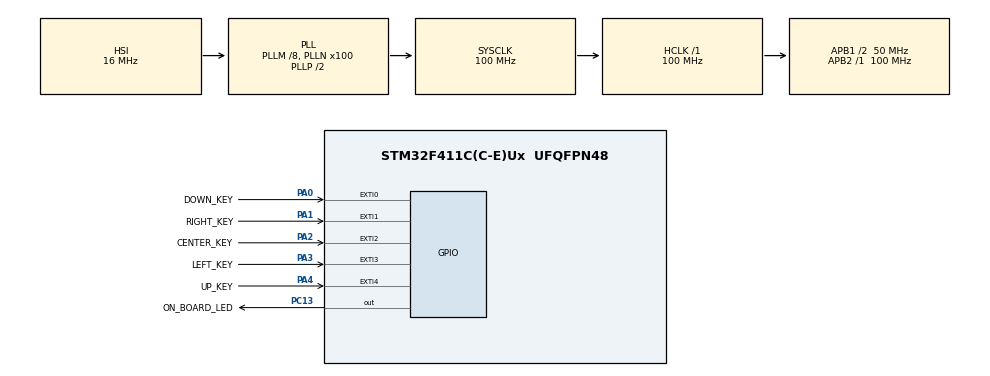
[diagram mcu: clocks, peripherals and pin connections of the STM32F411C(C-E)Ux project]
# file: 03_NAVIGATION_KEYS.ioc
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Mcu.Family=STM32F4
Mcu.Name=STM32F411C(C-E)Ux
Mcu.Package=UFQFPN48
NVIC.EXTI0_IRQn=true\:0\:0\:false\:false\:true\:true\:true\:true
NVIC.EXTI1_IRQn=true\:0\:0\:false\:false\:true\:true\:true\:true
NVIC.EXTI2_IRQn=true\:0\:0\:false\:false\:true\:true\:true\:true
NVIC.EXTI3_IRQn=true\:0\:0\:false\:false\:true\:true\:true\:true
NVIC.EXTI4_IRQn=true\:0\:0\:false\:false\:true\:true\:true\:true
NVIC.PriorityGroup=NVIC_PRIORITYGROUP_4
NVIC.TIM1_UP_TIM10_IRQn=true\:0\:0\:false\:false\:true\:true\:true\:true
PA0-WKUP.GPIO_Label=DOWN_KEY
PA0-WKUP.GPIO_ModeDefaultEXTI=GPIO_MODE_IT_FALLING
PA0-WKUP.GPIO_PuPd=GPIO_PULLUP
PA0-WKUP.Signal=GPXTI0
PA1.GPIO_Label=RIGHT_KEY
PA1.GPIO_ModeDefaultEXTI=GPIO_MODE_IT_FALLING
PA1.GPIO_PuPd=GPIO_PULLUP
PA1.Signal=GPXTI1
PA13.Mode=Serial_Wire
PA13.Signal=SYS_JTMS-SWDIO
PA14.Mode=Serial_Wire
PA14.Signal=SYS_JTCK-SWCLK
PA2.GPIO_Label=CENTER_KEY
PA2.GPIO_ModeDefaultEXTI=GPIO_MODE_IT_FALLING
PA2.GPIO_PuPd=GPIO_PULLUP
PA2.Signal=GPXTI2
PA3.GPIO_Label=LEFT_KEY
PA3.GPIO_ModeDefaultEXTI=GPIO_MODE_IT_FALLING
PA3.GPIO_PuPd=GPIO_PULLUP
PA3.Signal=GPXTI3
PA4.GPIO_Label=UP_KEY
PA4.GPIO_ModeDefaultEXTI=GPIO_MODE_IT_FALLING
PA4.GPIO_PuPd=GPIO_PULLUP
PA4.Signal=GPXTI4
PC13-ANTI_TAMP.GPIO_Label=ON_BOARD_LED
PC13-ANTI_TAMP.Signal=GPIO_Output
PC14-OSC32_IN.Mode=LSE-External-Oscillator
PC14-OSC32_IN.Signal=RCC_OSC32_IN
PC15-OSC32_OUT.Mode=LSE-External-Oscillator
PC15-OSC32_OUT.Signal=RCC_OSC32_OUT
PH0\ -\ OSC_IN.Mode=HSE-External-Oscillator
PH0\ -\ OSC_IN.Signal=RCC_OSC_IN
PH1\ -\ OSC_OUT.Mode=HSE-External-Oscillator
PH1\ -\ OSC_OUT.Signal=RCC_OSC_OUT
ProjectManager.HeapSize=0x200
ProjectManager.StackSize=0x400
ProjectManager.TargetToolchain=STM32CubeIDE
RCC.48MHZClocksFreq_Value=50000000
RCC.AHBFreq_Value=100000000
RCC.APB1CLKDivider=RCC_HCLK_DIV2
RCC.APB1Freq_Value=50000000
RCC.APB1TimFreq_Value=100000000
RCC.APB2Freq_Value=100000000
RCC.APB2TimFreq_Value=100000000
RCC.CortexFreq_Value=100000000
RCC.HCLKFreq_Value=100000000
RCC.HSE_VALUE=25000000
RCC.HSI_VALUE=16000000
RCC.PLLM=8
RCC.PLLN=100
RCC.SYSCLKFreq_VALUE=100000000
RCC.SYSCLKSource=RCC_SYSCLKSOURCE_PLLCLK
RCC.VCOOutputFreq_Value=200000000
TIM1.Period=49999
TIM1.Prescaler=1
VP_TIM1_VS_ClockSourceINT.Mode=Internal
board=custom

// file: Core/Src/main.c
/* USER CODE BEGIN Header */
/**
  ******************************************************************************
  * @file           : main.c
  * @brief          : Main program body
  ******************************************************************************
  * @attention
  *
  * Copyright (c) 2025 STMicroelectronics.
  * All rights reserved.
  *
  * This software is licensed under terms that can be found in the LICENSE file
  * in the root directory of this software component.
  * If no LICENSE file comes with this software, it is provided AS-IS.
  *
  ******************************************************************************
  */
/* USER CODE END Header */
#include "main.h"

/* USER CODE BEGIN Includes */
#include "stdbool.h"
/* USER CODE END Includes */

/* USER CODE BEGIN PD */
#define DEBOUNCE_DELAY_IN_MS		(uint32_t)200
#define UP							(uint8_t)0x00
#define DOWN						(uint8_t)0x01
#define CENTER						(uint8_t)0x02
#define LEFT						(uint8_t)0x03
#define RIGHT						(uint8_t)0x04
/* USER CODE END PD */

TIM_HandleTypeDef htim1;

/* USER CODE BEGIN PV */
typedef struct
{
	bool previous_state;
	bool current_state;
	uint32_t press_cnt;
	bool pressed_flag;
}navigation_struct_t;
typedef struct
{
	bool status;
	bool ovf_flag;
	uint32_t timeout_in_ms;
}user_timer_struct_t;

navigation_struct_t navigation_struct[5];
user_timer_struct_t user_timer_struct[5];

/* USER CODE END PV */

void SystemClock_Config(void);
static void MX_GPIO_Init(void);
static void MX_TIM1_Init(void);
/* USER CODE BEGIN PFP */
void navigation_keys_init(void);
void navigation_keys_handler(void);
void user_timer_init(void);
void user_timer_start(uint8_t timer_id, uint32_t timeout_in_ms);
void user_timer_stop(uint8_t timer_id);
void HAL_TIM_PeriodElapsedCallback(TIM_HandleTypeDef *htim);
void HAL_GPIO_EXTI_Callback(uint16_t GPIO_Pin);
/* USER CODE END PFP */

int main(void)
{

  /* MCU Configuration--------------------------------------------------------*/

  /* Reset of all peripherals, Initializes the Flash interface and the Systick. */
  HAL_Init();

  /* Configure the system clock */
  SystemClock_Config();

  /* Initialize all configured peripherals */
  MX_GPIO_Init();
  MX_TIM1_Init();
  /* USER CODE BEGIN 2 */
  HAL_TIM_Base_Start_IT(&htim1);
  user_timer_init();
  navigation_keys_init();
  /* USER CODE END 2 */

  /* Infinite loop */
  while (1)
  {

    /* USER CODE BEGIN 3 */
	  navigation_keys_handler();
  }
  /* USER CODE END 3 */
}

void SystemClock_Config(void)
{
  RCC_OscInitTypeDef RCC_OscInitStruct = {0};
  RCC_ClkInitTypeDef RCC_ClkInitStruct = {0};

  /** Configure the main internal regulator output voltage
  */
  __HAL_RCC_PWR_CLK_ENABLE();
  __HAL_PWR_VOLTAGESCALING_CONFIG(PWR_REGULATOR_VOLTAGE_SCALE1);

  /** Initializes the RCC Oscillators according to the specified parameters
  * in the RCC_OscInitTypeDef structure.
  */
  RCC_OscInitStruct.OscillatorType = RCC_OSCILLATORTYPE_HSI;
  RCC_OscInitStruct.HSIState = RCC_HSI_ON;
  RCC_OscInitStruct.HSICalibrationValue = RCC_HSICALIBRATION_DEFAULT;
  RCC_OscInitStruct.PLL.PLLState = RCC_PLL_ON;
  RCC_OscInitStruct.PLL.PLLSource = RCC_PLLSOURCE_HSI;
  RCC_OscInitStruct.PLL.PLLM = 8;
  RCC_OscInitStruct.PLL.PLLN = 100;
  RCC_OscInitStruct.PLL.PLLP = RCC_PLLP_DIV2;
  RCC_OscInitStruct.PLL.PLLQ = 4;
  if (HAL_RCC_OscConfig(&RCC_OscInitStruct) != HAL_OK)
  {
    Error_Handler();
  }

  /** Initializes the CPU, AHB and APB buses clocks
  */
  RCC_ClkInitStruct.ClockType = RCC_CLOCKTYPE_HCLK|RCC_CLOCKTYPE_SYSCLK
                              |RCC_CLOCKTYPE_PCLK1|RCC_CLOCKTYPE_PCLK2;
  RCC_ClkInitStruct.SYSCLKSource = RCC_SYSCLKSOURCE_PLLCLK;
  RCC_ClkInitStruct.AHBCLKDivider = RCC_SYSCLK_DIV1;
  RCC_ClkInitStruct.APB1CLKDivider = RCC_HCLK_DIV2;
  RCC_ClkInitStruct.APB2CLKDivider = RCC_HCLK_DIV1;

  if (HAL_RCC_ClockConfig(&RCC_ClkInitStruct, FLASH_LATENCY_3) != HAL_OK)
  {
    Error_Handler();
  }
}

static void MX_TIM1_Init(void)
{

  TIM_ClockConfigTypeDef sClockSourceConfig = {0};
  TIM_MasterConfigTypeDef sMasterConfig = {0};

  htim1.Instance = TIM1;
  htim1.Init.Prescaler = 1;
  htim1.Init.CounterMode = TIM_COUNTERMODE_UP;
  htim1.Init.Period = 49999;
  htim1.Init.ClockDivision = TIM_CLOCKDIVISION_DIV1;
  htim1.Init.RepetitionCounter = 0;
  htim1.Init.AutoReloadPreload = TIM_AUTORELOAD_PRELOAD_DISABLE;
  if (HAL_TIM_Base_Init(&htim1) != HAL_OK)
  {
    Error_Handler();
  }
  sClockSourceConfig.ClockSource = TIM_CLOCKSOURCE_INTERNAL;
  if (HAL_TIM_ConfigClockSource(&htim1, &sClockSourceConfig) != HAL_OK)
  {
    Error_Handler();
  }
  sMasterConfig.MasterOutputTrigger = TIM_TRGO_RESET;
  sMasterConfig.MasterSlaveMode = TIM_MASTERSLAVEMODE_DISABLE;
  if (HAL_TIMEx_MasterConfigSynchronization(&htim1, &sMasterConfig) != HAL_OK)
  {
    Error_Handler();
  }

}

static void MX_GPIO_Init(void)
{
  GPIO_InitTypeDef GPIO_InitStruct = {0};

  /* GPIO Ports Clock Enable */
  __HAL_RCC_GPIOC_CLK_ENABLE();
  __HAL_RCC_GPIOH_CLK_ENABLE();
  __HAL_RCC_GPIOA_CLK_ENABLE();

  /*Configure GPIO pin Output Level */
  HAL_GPIO_WritePin(ON_BOARD_LED_GPIO_Port, ON_BOARD_LED_Pin, GPIO_PIN_RESET);

  /*Configure GPIO pin : ON_BOARD_LED_Pin */
  GPIO_InitStruct.Pin = ON_BOARD_LED_Pin;
  GPIO_InitStruct.Mode = GPIO_MODE_OUTPUT_PP;
  GPIO_InitStruct.Pull = GPIO_NOPULL;
  GPIO_InitStruct.Speed = GPIO_SPEED_FREQ_LOW;
  HAL_GPIO_Init(ON_BOARD_LED_GPIO_Port, &GPIO_InitStruct);

  /*Configure GPIO pins : DOWN_KEY_Pin RIGHT_KEY_Pin CENTER_KEY_Pin LEFT_KEY_Pin
                           UP_KEY_Pin */
  GPIO_InitStruct.Pin = DOWN_KEY_Pin|RIGHT_KEY_Pin|CENTER_KEY_Pin|LEFT_KEY_Pin
                          |UP_KEY_Pin;
  GPIO_InitStruct.Mode = GPIO_MODE_IT_FALLING;
  GPIO_InitStruct.Pull = GPIO_PULLUP;
  HAL_GPIO_Init(GPIOA, &GPIO_InitStruct);

  /* EXTI interrupt init*/
  HAL_NVIC_SetPriority(EXTI0_IRQn, 0, 0);
  HAL_NVIC_EnableIRQ(EXTI0_IRQn);

  HAL_NVIC_SetPriority(EXTI1_IRQn, 0, 0);
  HAL_NVIC_EnableIRQ(EXTI1_IRQn);

  HAL_NVIC_SetPriority(EXTI2_IRQn, 0, 0);
  HAL_NVIC_EnableIRQ(EXTI2_IRQn);

  HAL_NVIC_SetPriority(EXTI3_IRQn, 0, 0);
  HAL_NVIC_EnableIRQ(EXTI3_IRQn);

  HAL_NVIC_SetPriority(EXTI4_IRQn, 0, 0);
  HAL_NVIC_EnableIRQ(EXTI4_IRQn);

}

/* USER CODE BEGIN 4 */

void navigation_keys_init(void)
{
	for(uint8_t i = 0; i<5; i++)
	{
		navigation_struct[i].current_state = 1;
		navigation_struct[i].previous_state = 1;
		navigation_struct[i].press_cnt = 0;
		navigation_struct[i].pressed_flag = false;
	}
}
void navigation_keys_handler(void)
{
	for(uint8_t button_id = 0; button_id<5; button_id++)
	{
		if(navigation_struct[button_id].pressed_flag == true)
		{
			if(user_timer_struct[button_id].ovf_flag == true)
			{
				user_timer_stop(button_id);
				navigation_struct[button_id].pressed_flag = false;
				switch(button_id)
				{
				case UP:
					navigation_struct[button_id].current_state = HAL_GPIO_ReadPin(UP_KEY_GPIO_Port, UP_KEY_Pin);
					break;
				case DOWN:
					navigation_struct[button_id].current_state = HAL_GPIO_ReadPin(DOWN_KEY_GPIO_Port, DOWN_KEY_Pin);
					break;
				case CENTER:
					navigation_struct[button_id].current_state = HAL_GPIO_ReadPin(CENTER_KEY_GPIO_Port, CENTER_KEY_Pin);
					break;
				case LEFT:
					navigation_struct[button_id].current_state = HAL_GPIO_ReadPin(LEFT_KEY_GPIO_Port, LEFT_KEY_Pin);
					break;
				case RIGHT:
					navigation_struct[button_id].current_state = HAL_GPIO_ReadPin(RIGHT_KEY_GPIO_Port, RIGHT_KEY_Pin);
					break;
				}
				if(navigation_struct[button_id].current_state != navigation_struct[button_id].previous_state)
				{
					navigation_struct[button_id].press_cnt += 1;
				}

			}
		}
	}
}
void user_timer_init(void)
{
	for(uint8_t i = 0; i<5; i++)
	{
		user_timer_struct[i].status = false;
		user_timer_struct[i].ovf_flag = false;
		user_timer_struct[i].timeout_in_ms = 0;
	}
}
void user_timer_start(uint8_t timer_id, uint32_t timeout_in_ms)
{
	user_timer_struct[timer_id].status = true;
	user_timer_struct[timer_id].timeout_in_ms = timeout_in_ms;
}

void user_timer_stop(uint8_t timer_id)
{
	user_timer_struct[timer_id].status = false;
	user_timer_struct[timer_id].ovf_flag = false;
	user_timer_struct[timer_id].timeout_in_ms = 0;
}

void HAL_TIM_PeriodElapsedCallback(TIM_HandleTypeDef *htim)
{
	if(htim->Instance == htim1.Instance)
	{
		for(volatile uint8_t id = 0; id<5; id++)
		{
			if(user_timer_struct[id].status == true)
			{
				user_timer_struct[id].timeout_in_ms--;
				if(user_timer_struct[id].timeout_in_ms == 0)
				{
					user_timer_struct[id].ovf_flag = true;
				}
			}
		}
	}
}
void HAL_GPIO_EXTI_Callback(uint16_t GPIO_Pin)
{
	switch(GPIO_Pin)
	{
	case CENTER_KEY_Pin:
		if(HAL_GPIO_ReadPin(CENTER_KEY_GPIO_Port, CENTER_KEY_Pin) == 0)
		{
			navigation_struct[CENTER].pressed_flag = true;
			navigation_struct[CENTER].previous_state = 0;
			user_timer_start(CENTER, DEBOUNCE_DELAY_IN_MS);
		}
		break;
	case UP_KEY_Pin:
		if(HAL_GPIO_ReadPin(UP_KEY_GPIO_Port, UP_KEY_Pin) == 0)
		{
			navigation_struct[UP].pressed_flag = true;
			navigation_struct[UP].previous_state = 0;
			user_timer_start(UP, DEBOUNCE_DELAY_IN_MS);
		}
		break;
	case DOWN_KEY_Pin:
		if(HAL_GPIO_ReadPin(DOWN_KEY_GPIO_Port, DOWN_KEY_Pin) == 0)
		{
			navigation_struct[DOWN].pressed_flag = true;
			navigation_struct[DOWN].previous_state = 0;
			user_timer_start(DOWN, DEBOUNCE_DELAY_IN_MS);
		}
		break;
	case LEFT_KEY_Pin:
		if(HAL_GPIO_ReadPin(LEFT_KEY_GPIO_Port, LEFT_KEY_Pin) == 0)
		{
			navigation_struct[LEFT].pressed_flag = true;
			navigation_struct[LEFT].previous_state = 0;
			user_timer_start(LEFT, DEBOUNCE_DELAY_IN_MS);
		}
		break;
	case RIGHT_KEY_Pin:
		if(HAL_GPIO_ReadPin(RIGHT_KEY_GPIO_Port, RIGHT_KEY_Pin) == 0)
		{
			navigation_struct[RIGHT].pressed_flag = true;
			navigation_struct[RIGHT].previous_state = 0;
			user_timer_start(RIGHT, DEBOUNCE_DELAY_IN_MS);
		}
		break;
	default:
		break;
	}
}
/* USER CODE END 4 */

void Error_Handler(void)
{
  __disable_irq();
  while (1)
  {
  }
}
